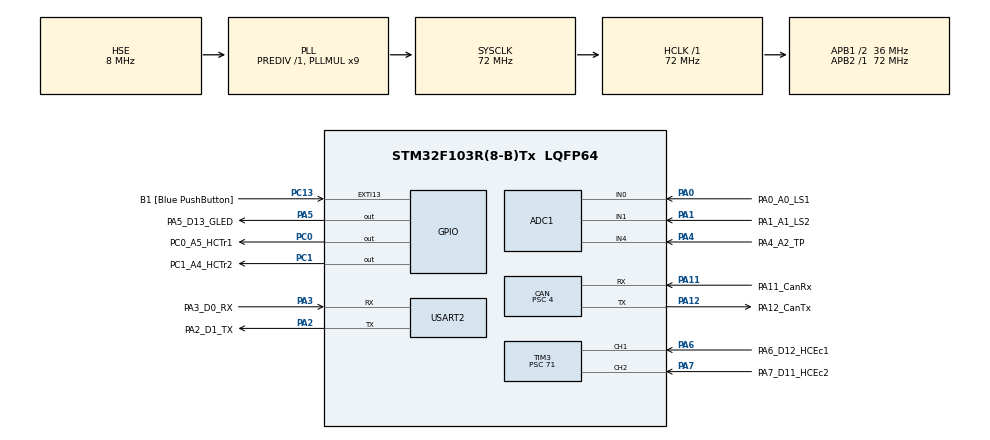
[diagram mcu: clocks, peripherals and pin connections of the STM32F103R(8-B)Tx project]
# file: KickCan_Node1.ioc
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ADC1.Channel-0\#ChannelRegularConversion=ADC_CHANNEL_0
ADC1.Channel-1\#ChannelRegularConversion=ADC_CHANNEL_1
ADC1.Channel-2\#ChannelRegularConversion=ADC_CHANNEL_4
ADC1.ContinuousConvMode=ENABLE
ADC1.NbrOfConversion=3
ADC1.NbrOfConversionFlag=1
ADC1.Rank-0\#ChannelRegularConversion=1
ADC1.Rank-1\#ChannelRegularConversion=2
ADC1.Rank-2\#ChannelRegularConversion=3
ADC1.SamplingTime-0\#ChannelRegularConversion=ADC_SAMPLETIME_55CYCLES_5
ADC1.SamplingTime-1\#ChannelRegularConversion=ADC_SAMPLETIME_55CYCLES_5
ADC1.SamplingTime-2\#ChannelRegularConversion=ADC_SAMPLETIME_239CYCLES_5
ADC1.master=1
CAN.BS1=CAN_BS1_13TQ
CAN.BS2=CAN_BS2_4TQ
CAN.CalculateBaudRate=500000
CAN.CalculateTimeBit=2000
CAN.CalculateTimeQuantum=111.11111111111111
CAN.NART=ENABLE
CAN.Prescaler=4
Dma.ADC1.0.Direction=DMA_PERIPH_TO_MEMORY
Dma.ADC1.0.Instance=DMA1_Channel1
Dma.ADC1.0.MemDataAlignment=DMA_MDATAALIGN_HALFWORD
Dma.ADC1.0.MemInc=DMA_MINC_ENABLE
Dma.ADC1.0.Mode=DMA_CIRCULAR
Dma.ADC1.0.PeriphDataAlignment=DMA_PDATAALIGN_HALFWORD
Dma.ADC1.0.PeriphInc=DMA_PINC_DISABLE
Dma.ADC1.0.Priority=DMA_PRIORITY_LOW
Dma.Request0=ADC1
FREERTOS.Queues01=QueueCAN,16,uint32_t,0,Dynamic,NULL,NULL
FREERTOS.Tasks01=TaskTP,0,128,StartTaskTP,Default,NULL,Dynamic,NULL,NULL;TaskHC1,0,128,StartTaskHC1,Default,NULL,Dynamic,NULL,NULL;TaskHC2,0,128,StartTaskHC2,Default,NULL,Dynamic,NULL,NULL;TaskLD,0,128,StartTaskLD,Default,NULL,Dynamic,NULL,NULL;TaskCAN,1,128,StartTaskCAN,Default,NULL,Dynamic,NULL,NULL
FREERTOS.configTOTAL_HEAP_SIZE=10240
Mcu.Family=STM32F1
Mcu.Name=STM32F103R(8-B)Tx
Mcu.Package=LQFP64
NVIC.DMA1_Channel1_IRQn=true\:5\:0\:false\:false\:true\:true\:false\:true\:true
NVIC.EXTI15_10_IRQn=true\:5\:0\:false\:false\:true\:true\:true\:true\:true
NVIC.PriorityGroup=NVIC_PRIORITYGROUP_4
NVIC.TIM3_IRQn=true\:5\:0\:false\:false\:true\:true\:true\:true\:true
NVIC.TIM4_IRQn=true\:0\:0\:true\:false\:true\:false\:false\:true\:true
NVIC.TimeBase=TIM4_IRQn
NVIC.TimeBaseIP=TIM4
NVIC.USB_LP_CAN1_RX0_IRQn=true\:5\:0\:false\:false\:true\:true\:true\:true\:true
PA0-WKUP.GPIO_Label=PA0_A0_LS1
PA0-WKUP.Signal=ADCx_IN0
PA1.GPIO_Label=PA1_A1_LS2
PA1.Signal=ADCx_IN1
PA11.GPIO_Label=PA11_CanRx
PA11.Mode=CAN_Activate
PA11.Signal=CAN_RX
PA12.GPIO_Label=PA12_CanTx
PA12.Mode=CAN_Activate
PA12.Signal=CAN_TX
PA13.GPIO_Label=TMS
PA13.Mode=Serial_Wire
PA13.Signal=SYS_JTMS-SWDIO
PA14.GPIO_Label=TCK
PA14.Mode=Serial_Wire
PA14.Signal=SYS_JTCK-SWCLK
PA2.GPIO_Label=PA2_D1_TX
PA2.GPIO_Mode=GPIO_MODE_AF_PP
PA2.GPIO_PuPd=GPIO_NOPULL
PA2.GPIO_Speed=GPIO_SPEED_FREQ_LOW
PA2.Mode=Asynchronous
PA2.Signal=USART2_TX
PA3.GPIO_Label=PA3_D0_RX
PA3.GPIO_Mode=GPIO_MODE_AF_PP
PA3.GPIO_PuPd=GPIO_NOPULL
PA3.GPIO_Speed=GPIO_SPEED_FREQ_LOW
PA3.Mode=Asynchronous
PA3.Signal=USART2_RX
PA4.GPIO_Label=PA4_A2_TP
PA4.Signal=ADCx_IN4
PA5.GPIO_Label=PA5_D13_GLED
PA5.GPIO_ModeDefaultOutputPP=GPIO_MODE_OUTPUT_PP
PA5.GPIO_PuPd=GPIO_NOPULL
PA5.GPIO_Speed=GPIO_SPEED_FREQ_LOW
PA5.Signal=GPIO_Output
PA6.GPIO_Label=PA6_D12_HCEc1
PA6.Signal=S_TIM3_CH1
PA7.GPIO_Label=PA7_D11_HCEc2
PA7.Signal=S_TIM3_CH2
PB3.GPIO_Label=SWO
PB3.Signal=SYS_JTDO-TRACESWO
PC0.GPIO_Label=PC0_A5_HCTr1
PC0.Signal=GPIO_Output
PC1.GPIO_Label=PC1_A4_HCTr2
PC1.Signal=GPIO_Output
PC13-TAMPER-RTC.GPIO_Label=B1 [Blue PushButton]
PC13-TAMPER-RTC.GPIO_PuPd=GPIO_NOPULL
PC13-TAMPER-RTC.Signal=GPXTI13
PC14-OSC32_IN.Mode=LSE-External-Oscillator
PC14-OSC32_IN.Signal=RCC_OSC32_IN
PC15-OSC32_OUT.Mode=LSE-External-Oscillator
PC15-OSC32_OUT.Signal=RCC_OSC32_OUT
PD0-OSC_IN.Mode=HSE-External-Oscillator
PD0-OSC_IN.Signal=RCC_OSC_IN
PD1-OSC_OUT.Mode=HSE-External-Oscillator
PD1-OSC_OUT.Signal=RCC_OSC_OUT
ProjectManager.HeapSize=0x200
ProjectManager.StackSize=0x400
ProjectManager.TargetToolchain=CMake
RCC.ADCPresc=RCC_ADCPCLK2_DIV6
RCC.AHBFreq_Value=72000000
RCC.APB1CLKDivider=RCC_HCLK_DIV2
RCC.APB1Freq_Value=36000000
RCC.APB1TimFreq_Value=72000000
RCC.APB2Freq_Value=72000000
RCC.APB2TimFreq_Value=72000000
RCC.HCLKFreq_Value=72000000
RCC.PLLMUL=RCC_PLL_MUL9
RCC.PLLSourceVirtual=RCC_PLLSOURCE_HSE
RCC.RTCClockSelection=RCC_RTCCLKSOURCE_LSE
RCC.SYSCLKFreq_VALUE=72000000
RCC.SYSCLKSource=RCC_SYSCLKSOURCE_PLLCLK
RCC.USBFreq_Value=72000000
SH.ADCx_IN0.0=ADC1_IN0,IN0
SH.ADCx_IN1.0=ADC1_IN1,IN1
SH.ADCx_IN4.0=ADC1_IN4,IN4
SH.S_TIM3_CH1.0=TIM3_CH1,Input_Capture1_from_TI1
SH.S_TIM3_CH2.0=TIM3_CH2,Input_Capture2_from_TI2
TIM3.Channel-Input_Capture1_from_TI1=TIM_CHANNEL_1
TIM3.Channel-Input_Capture2_from_TI2=TIM_CHANNEL_2
TIM3.Prescaler=71
USART2.VirtualMode=VM_ASYNC
VP_FREERTOS_VS_CMSIS_V1.Mode=CMSIS_V1
VP_SYS_VS_tim4.Mode=TIM4
VP_TIM3_VS_ClockSourceINT.Mode=Internal
board=NUCLEO-F103RB

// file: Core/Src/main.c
/* USER CODE BEGIN Header */
/**
  ******************************************************************************
  * @file           : main.c
  * @brief          : Main program body
  ******************************************************************************
  * @attention
  *
  * Copyright (c) 2026 STMicroelectronics.
  * All rights reserved.
  *
  * This software is licensed under terms that can be found in the LICENSE file
  * in the root directory of this software component.
  * If no LICENSE file comes with this software, it is provided AS-IS.
  *
  ******************************************************************************
  */
/* USER CODE END Header */
#include "main.h"
#include "cmsis_os.h"
#include "adc.h"
#include "can.h"
#include "dma.h"
#include "tim.h"
#include "usart.h"
#include "gpio.h"

/* USER CODE BEGIN Includes */
#include <stdio.h>
/* USER CODE END Includes */

/* USER CODE BEGIN PD */

/*
 * Node_1의 CAN 수신 Identifier
 *
 * CAN Identifier는 수신 노드 ID로 사용한다.
 * 따라서 Main Node가 Node_1으로 보내는 메시지는
 * Standard ID 0x002를 사용한다.
 */
#define CAN_NODE1_ID              0x002U

/*
 * 차량 전진·후진·정지 상태 제어명령
 *
 * Main Node에서 수신하며,
 * Node_1에서는 초음파 Event 송신 방향을
 * 결정하는 조건값으로만 사용한다.
 */
#define CAN_CMD_DRIVE_STATE       60U

/* USER CODE END PD */

/* USER CODE BEGIN PV */

/*
 * 전방 초음파 측정 변수
 */
volatile uint32_t IC_Value1_Front = 0U;
volatile uint8_t Is_First_Captured1 = 0U;
volatile uint16_t Distance_Front = 0U;

/*
 * 이번 전방 측정의 Echo가 정상적으로 완료되었는지 표시한다.
 *
 * 0: 아직 완료되지 않음 또는 타임아웃
 * 1: Rising/Falling Edge 측정 완료
 */
volatile uint8_t Front_Echo_Completed = 0U;

/*
 * 후방 초음파 측정 변수
 */
volatile uint32_t IC_Value1_Back = 0U;
volatile uint8_t Is_First_Captured2 = 0U;
volatile uint16_t Distance_Back = 0U;

/*
 * 이번 후방 측정의 Echo가 정상적으로 완료되었는지 표시한다.
 *
 * 0: 아직 완료되지 않음 또는 타임아웃
 * 1: Rising/Falling Edge 측정 완료
 */
volatile uint8_t Rear_Echo_Completed = 0U;

// freertos.c에 선언된 3채널 ADC 버퍼 참조[cite: 4, 10]
extern volatile uint16_t adc_dma_buff[3];

/*
 * Main Node에서 수신한 현재 차량 주행 상태
 *
 * 초기값은 정지 상태로 설정한다.
 *
 * Main Node의 60번 명령을 아직 받지 않았거나
 * CAN 통신이 연결되지 않은 상태에서
 * 초음파 Event가 임의로 송신되는 것을 방지한다.
 *
 * 이 변수는:
 * - main.c의 CAN 수신 콜백에서 갱신
 * - freertos.c의 초음파 Task에서 참조
 *
 * 용도로 사용한다.
 */
volatile DriveState_t g_drive_state = DRIVE_STATE_STOP;

/* USER CODE END PV */

void SystemClock_Config(void);
void MX_FREERTOS_Init(void);
/* USER CODE BEGIN PFP */
void delay_us(uint16_t us);
/* USER CODE END PFP */

int main(void)
{

  /* MCU Configuration--------------------------------------------------------*/

  /* Reset of all peripherals, Initializes the Flash interface and the Systick. */
  HAL_Init();

  /* Configure the system clock */
  SystemClock_Config();

  /* Initialize all configured peripherals */
  MX_GPIO_Init();
  MX_DMA_Init();
  MX_USART2_UART_Init();
  MX_ADC1_Init();
  MX_CAN_Init();
  MX_TIM3_Init();
  /* USER CODE BEGIN 2 */

  // 1. CAN 필터 설정 및 수신(RX0) 인터럽트 활성화[cite: 5, 6]
  CAN_FilterTypeDef sFilterConfig = {0, };
  sFilterConfig.FilterBank = 0;
  sFilterConfig.FilterMode = CAN_FILTERMODE_IDMASK;
  sFilterConfig.FilterScale = CAN_FILTERSCALE_32BIT;
  // sFilterConfig.FilterIdHigh = 0x0002 << 5;
  sFilterConfig.FilterIdHigh = CAN_NODE1_ID << 5;
  sFilterConfig.FilterIdLow = 0x0000;
  sFilterConfig.FilterMaskIdHigh = 0x7ff << 5;
  sFilterConfig.FilterMaskIdLow = 0x0000;
  sFilterConfig.FilterFIFOAssignment = CAN_RX_FIFO0; // RX0 지정[cite: 5, 6]
  sFilterConfig.FilterActivation = ENABLE;
  sFilterConfig.SlaveStartFilterBank = 14;

  if (HAL_CAN_ConfigFilter(&hcan, &sFilterConfig) != HAL_OK)
  {
    Error_Handler();
  }
  // HAL_CAN_Start(&hcan); // CAN 동작 개시[cite: 5, 6]
  // HAL_CAN_ActivateNotification(&hcan, CAN_IT_RX_FIFO0_MSG_PENDING); // RX0 인터럽트 켜기[cite: 5, 6]

  if (HAL_CAN_Start(&hcan) != HAL_OK)
  {
    Error_Handler();
  }

  if (HAL_CAN_ActivateNotification(&hcan, CAN_IT_RX_FIFO0_MSG_PENDING) != HAL_OK)
  {
    Error_Handler();
  }

  // 2. TIM3 Input Capture 인터럽트 시작 (PA6: CH1-전방 / PA7: CH2-후방)[cite: 13]
  extern TIM_HandleTypeDef htim3;
  HAL_TIM_IC_Start_IT(&htim3, TIM_CHANNEL_1);
  HAL_TIM_IC_Start_IT(&htim3, TIM_CHANNEL_2);

  HAL_ADCEx_Calibration_Start(&hadc1);   // ADC 보정

  // 3. ADC1 3채널 DMA 수집 시작 (PA0, PA1, PA4)[cite: 4, 10]
  HAL_ADC_Start_DMA(&hadc1, (uint32_t*)adc_dma_buff, 3);

  /* USER CODE END 2 */

  /* Call init function for freertos objects (in cmsis_os2.c) */
  MX_FREERTOS_Init();

  /* Start scheduler */
  osKernelStart();

  /* We should never get here as control is now taken by the scheduler */

  /* Infinite loop */
  while (1)
  {

  }
}

void SystemClock_Config(void)
{
  RCC_OscInitTypeDef RCC_OscInitStruct = {0};
  RCC_ClkInitTypeDef RCC_ClkInitStruct = {0};
  RCC_PeriphCLKInitTypeDef PeriphClkInit = {0};

  /** Initializes the RCC Oscillators according to the specified parameters
  * in the RCC_OscInitTypeDef structure.
  */
  RCC_OscInitStruct.OscillatorType = RCC_OSCILLATORTYPE_HSE;
  RCC_OscInitStruct.HSEState = RCC_HSE_ON;
  RCC_OscInitStruct.HSEPredivValue = RCC_HSE_PREDIV_DIV1;
  RCC_OscInitStruct.HSIState = RCC_HSI_ON;
  RCC_OscInitStruct.PLL.PLLState = RCC_PLL_ON;
  RCC_OscInitStruct.PLL.PLLSource = RCC_PLLSOURCE_HSE;
  RCC_OscInitStruct.PLL.PLLMUL = RCC_PLL_MUL9;
  if (HAL_RCC_OscConfig(&RCC_OscInitStruct) != HAL_OK)
  {
    Error_Handler();
  }

  /** Initializes the CPU, AHB and APB buses clocks
  */
  RCC_ClkInitStruct.ClockType = RCC_CLOCKTYPE_HCLK|RCC_CLOCKTYPE_SYSCLK|RCC_CLOCKTYPE_PCLK1|RCC_CLOCKTYPE_PCLK2;
  RCC_ClkInitStruct.SYSCLKSource = RCC_SYSCLKSOURCE_PLLCLK;
  RCC_ClkInitStruct.AHBCLKDivider = RCC_SYSCLK_DIV1;
  RCC_ClkInitStruct.APB1CLKDivider = RCC_HCLK_DIV2;
  RCC_ClkInitStruct.APB2CLKDivider = RCC_HCLK_DIV1;

  if (HAL_RCC_ClockConfig(&RCC_ClkInitStruct, FLASH_LATENCY_2) != HAL_OK)
  {
    Error_Handler();
  }
  PeriphClkInit.PeriphClockSelection = RCC_PERIPHCLK_ADC;
  PeriphClkInit.AdcClockSelection = RCC_ADCPCLK2_DIV6;
  if (HAL_RCCEx_PeriphCLKConfig(&PeriphClkInit) != HAL_OK)
  {
    Error_Handler();
  }
}

/* USER CODE BEGIN 4 */

/*
 * CAN 수신 콜백 함수
 *
 * Main Node에서 Node_1으로 전송한
 * 주행 상태 제어명령 60번을 수신한다.
 *
 * 이 콜백에서는:
 * - 수신 메시지 확인
 * - 주행 상태 저장
 *
 * 까지만 수행한다.
 *
 * 초음파 판단, CAN 송신 큐 등록 및 UART 출력은
 * 이 인터럽트 콜백에서 수행하지 않는다.
 */
void HAL_CAN_RxFifo0MsgPendingCallback(CAN_HandleTypeDef *hcan_ptr)
{

    CAN_RxHeaderTypeDef rxHeader = {0, };

    uint8_t rxData[8] =
    {
      0U, 0U, 0U, 0U, 0U, 0U, 0U, 0U
    };

    /*
    * CAN1 수신 인터럽트인지 확인
    */
    if (hcan_ptr->Instance != CAN1)
    {
      return;
    }

    /*
    * FIFO0 메시지는 한 번만 읽는다.
    */
    if (HAL_CAN_GetRxMessage(hcan_ptr, CAN_RX_FIFO0, &rxHeader, rxData) != HAL_OK)
    {
      return;
    }

    /*
    * Standard Data Frame만 처리한다.
    */
    if ((rxHeader.IDE != CAN_ID_STD) || (rxHeader.RTR != CAN_RTR_DATA))
    {
      return;
    }

    /*
    * Node_1 대상 ID인지 확인한다.
    */
    if (rxHeader.StdId != CAN_NODE1_ID)
    {
      return;
    }

    /*
    * Command와 Value가 존재하는지 확인한다.
    */
    if (rxHeader.DLC < 2U)
    {
      return;
    }

    /*
    * 주행 상태 Command 60만 처리한다.
    */
    if (rxData[0] != CAN_CMD_DRIVE_STATE)
    {
      return;
    }

    /*
    * Data[1]:
    * 0 = 전진
    * 1 = 후진
    * 2 = 정지
    */
    switch (rxData[1])
    {
      case DRIVE_STATE_FORWARD:
        g_drive_state = DRIVE_STATE_FORWARD;
        break;

      case DRIVE_STATE_BACKWARD:
        g_drive_state = DRIVE_STATE_BACKWARD;
        break;

      case DRIVE_STATE_STOP:
        g_drive_state = DRIVE_STATE_STOP;
        break;

      default:
        /*
        * 정의되지 않은 값이면
        * 기존 주행 상태를 유지한다.
        */
        break;
    }

}

// ---------------- [Input Capture 인터럽트 콜백] ----------------[cite: 13]
void HAL_TIM_IC_CaptureCallback(TIM_HandleTypeDef *htim)
{
  if (htim->Instance == TIM3)
  {
    // --- [전방 센서: TIM3_CH1 (PA6)] ---[cite: 13]
    if (htim->Channel == HAL_TIM_ACTIVE_CHANNEL_1)
    {
      if (Is_First_Captured1 == 0) // Rising Edge (Echo 시작)[cite: 13]
      {
        __HAL_TIM_SET_COUNTER(htim, 0); // 카운터 0 초기화[cite: 13]
        Is_First_Captured1 = 1;
        __HAL_TIM_SET_CAPTUREPOLARITY(htim, TIM_CHANNEL_1, TIM_INPUTCHANNELPOLARITY_FALLING);
      }
      else if (Is_First_Captured1 == 1) // Falling Edge (Echo 끝)[cite: 13]
      {
        IC_Value1_Front = HAL_TIM_ReadCapturedValue(htim, TIM_CHANNEL_1);
        Distance_Front = IC_Value1_Front / 58;

        /*
        * Rising/Falling Edge 측정이 모두 끝났으므로
        * 이번 전방 측정 완료 표시
        */
        Front_Echo_Completed = 1U;

        Is_First_Captured1 = 0;
        __HAL_TIM_SET_CAPTUREPOLARITY(htim, TIM_CHANNEL_1, TIM_INPUTCHANNELPOLARITY_RISING);
      }
    }

    // --- [후방 센서: TIM3_CH2 (PA7)] ---[cite: 13]
    if (htim->Channel == HAL_TIM_ACTIVE_CHANNEL_2)
    {
      if (Is_First_Captured2 == 0) // Rising Edge[cite: 13]
      {
        __HAL_TIM_SET_COUNTER(htim, 0); // 카운터 0 초기화[cite: 13]
        Is_First_Captured2 = 1;
        __HAL_TIM_SET_CAPTUREPOLARITY(htim, TIM_CHANNEL_2, TIM_INPUTCHANNELPOLARITY_FALLING);
      }
      else if (Is_First_Captured2 == 1) // Falling Edge[cite: 13]
      {
        IC_Value1_Back = HAL_TIM_ReadCapturedValue(htim, TIM_CHANNEL_2);
        Distance_Back = IC_Value1_Back / 58;

        /*
        * Rising/Falling Edge 측정이 모두 끝났으므로
        * 이번 후방 측정 완료 표시
        */
        Rear_Echo_Completed = 1U;

        Is_First_Captured2 = 0;
        __HAL_TIM_SET_CAPTUREPOLARITY(htim, TIM_CHANNEL_2, TIM_INPUTCHANNELPOLARITY_RISING);
      }
    }
  }
}

// Microsecond Delay 함수 (72MHz 소프트웨어 딜레이)
void delay_us(uint16_t us)
{
  uint32_t count = us * 8;
  while(count--) {
    __NOP();
  }
}

// printf UART2 재정의[cite: 13]
int __io_putchar(int ch)
{
  HAL_UART_Transmit(&huart2, (uint8_t *)&ch, 1, HAL_MAX_DELAY);
  return ch;
}

/* USER CODE END 4 */

void HAL_TIM_PeriodElapsedCallback(TIM_HandleTypeDef *htim)
{
  if (htim->Instance == TIM4)
  {
    HAL_IncTick();
  }
}

void Error_Handler(void)
{
  __disable_irq();
  while (1)
  {
  }
}

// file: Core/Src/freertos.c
/* USER CODE BEGIN Header */
/**
  ******************************************************************************
  * File Name          : freertos.c
  * Description        : Code for freertos applications (STM32F103 CMSIS_V1 호환)
  ******************************************************************************
  * @attention
  *
  * Copyright (c) 2026 STMicroelectronics.
  * All rights reserved.
  *
  * This software is licensed under terms that can be found in the LICENSE file
  * in the root directory of this software component.
  * If no LICENSE file comes with this software, it is provided AS-IS.
  *
  ******************************************************************************
  */
/* USER CODE END Header */

#include "FreeRTOS.h"
#include "task.h"
#include "main.h"
#include "cmsis_os.h"

/* USER CODE BEGIN Includes */
#include "adc.h"   // hadc1 핸들 사용
#include "can.h"   // hcan 핸들 사용
#include "usart.h" // huart2 핸들 사용
#include <stdio.h> // printf 출력을 위한 헤더
#include "queue.h"   // FreeRTOS 구조체 큐 사용
/* USER CODE END Includes */

/* USER CODE BEGIN PTD */

/*
 * Node_1에서 발생할 수 있는 CAN 제어 명령
 *
 * 각 센서 Task는 센서값을 판단한 뒤
 * 해당하는 명령 번호를 생성한다.
 *
 * 실제 CAN 전송은 이후 TaskCAN에서 처리할 예정이다.
 */
typedef enum
{
    CAN_CMD_NONE = 0,

    /*
     * ICD(9) 기준:
     * 같은 기능의 세부 상태는 Command가 아니라
     * Data[1]의 Value로 구분한다.
     */
    CAN_CMD_TEMP             = 110,
    CAN_CMD_LIGHT            = 112,
    CAN_CMD_FRONT_ULTRASONIC = 113,
    CAN_CMD_REAR_ULTRASONIC  = 115

} Node1CanCommand_t;

/*
 * CAN 송신 큐에 저장할 메시지
 *
 * 각 센서 Task는 센서 상태를 판단한 뒤
 * 실제 CAN 송신에 필요한 정보만 이 구조체에 담아
 * QueueCAN으로 전달한다.
 *
 * 실제 CAN Header 구성, Payload 패킹 및 송신은
 * TaskCAN에서만 수행한다.
 */
typedef struct
{
    /*
     * CAN Header의 Standard Identifier로 사용할 수신 노드 ID
     *
     * 현재 Node_1에서 발생한 Event는
     * Node_2로 전송하므로 기본 목적지는 0x003이다.
     */
    uint16_t destination_id;

    /*
     * CAN Payload의 Data[0]에 저장할 제어 명령
     *
     * 예:
     * 110 = 온도 상태
     * 112 = 조도 상태
     * 113 = 전방 초음파 상태
     * 115 = 후방 초음파 상태
     */
    uint8_t command;

    /*
     * CAN Payload의 Data[1]에 저장할 실제 상태값
     */
    uint8_t value;

} CanTxMessage_t;

/*
 * 현재 조도 수준
 */
typedef enum
{
    LIGHT_LEVEL_DARK = 0,       // ADC 900 이하
    LIGHT_LEVEL_TRANSITION,     // ADC 901 ~ 1699
    LIGHT_LEVEL_BRIGHT          // ADC 1700 이상

} LightLevel_t;

/*
 * 현재 라이트 동작 상태
 */
typedef enum
{
    LIGHT_STATE_OFF = 0,        // 라이트 해제 상태
    LIGHT_STATE_FAST_ON,        // 터널 진입용 빠른 점등
    LIGHT_STATE_SMOOTH_ON       // 일몰/야간용 자연스러운 점등

} LightState_t;

/*
 * 초음파 거리 경고 상태
 */
typedef enum
{
    ULTRASONIC_STATE_CLEAR = 0,   // 장애물 없음: 30cm 초과
    ULTRASONIC_STATE_30CM,        // 21 ~ 30cm
    ULTRASONIC_STATE_20CM,        // 11 ~ 20cm
    ULTRASONIC_STATE_10CM         // 1 ~ 10cm

} UltrasonicState_t;

// 단일 센서 데이터 관리 구조체
typedef struct
{
    uint16_t raw;       // DMA로 넘어온 순수 ADC 값 (0 ~ 4095)
    uint16_t filtered;  // LPF 적용된 안정적인 ADC 값
    int16_t  delta;     // 이전 필터값 - 현재 필터값

} LightSensor_t;

/*
 * TMP36 온도센서 데이터 관리 구조체
 */
typedef struct
{
    uint16_t raw;             // ADC 원본값
    uint16_t filtered_raw;    // 필터 적용 ADC값
    float voltage;            // 변환 전압
    float temperature;        // 계산된 온도(℃)

} TemperatureSensor_t;

// 전체 오토라이트 & TP 시스템 구조체
typedef struct
{
    LightSensor_t forward;  // LS1 (PA0)
    LightSensor_t overhead; // LS2 (PA1)
    TemperatureSensor_t tp;      // TMP36 (PA4)

} AutoLight_t;

/* USER CODE END PTD */

/* USER CODE BEGIN PD */

/*
 * TMP36 온도 상태 전환 기준
 *
 * 경고 기준:
 * TEMP_WARNING_THRESHOLD 이상
 *
 * 정상 복귀 기준:
 * TEMP_NORMAL_THRESHOLD 이하
 *
 * CAN 전송:
 * Command 110, Value 1 = 경고
 * Command 110, Value 0 = 정상
 */
#define TEMP_WARNING_THRESHOLD     30.0f
#define TEMP_NORMAL_THRESHOLD      25.0f

/*
 * 조도센서 ADC 기준값
 *
 * 실제 측정 결과:
 * 밝은 환경: 약 2000 이상
 * 어두운 환경: 약 1000 이하
 */
#define LIGHT_BRIGHT_THRESHOLD           2500U
#define LIGHT_DARK_THRESHOLD             1800U

/*
 * 조도 변화량 기준
 *
 * raw delta:
 * 이전 raw 값 - 현재 raw 값
 *
 * 양수: ADC값 감소, 즉 어두워짐
 * 음수: ADC값 증가, 즉 밝아짐
 */
#define LIGHT_RAW_RAPID_DROP             400

/*
 * 필터값 변화량 기준
 *
 * 현재 LPF가 0.2 : 0.8이므로
 * 실제 raw 변화보다 filtered 변화가 작게 나타난다.
 */
#define LIGHT_FILTERED_DROP               250
#define LIGHT_FILTERED_RISE               250

/*
 * 일시적 그림자 확인 횟수
 *
 * TaskLD 주기 100ms 기준:
 * 3회 = 약 300ms
 */
#define SHADOW_CONFIRM_COUNT                3U

/*
 * 밝음 복귀 확인 횟수
 *
 * 라이트가 순간적인 빛에 바로 꺼지지 않도록
 * 5회 연속 밝음 확인 후 해제한다.
 *
 * TaskLD 주기 100ms 기준:
 * 5회 = 약 500ms
 */
#define LIGHT_OFF_CONFIRM_COUNT              5U

/*
 * 초음파 거리 경고 기준값
 */
#define ULTRASONIC_WARNING_10CM       10U
#define ULTRASONIC_WARNING_20CM       20U
#define ULTRASONIC_WARNING_30CM       30U

/*
 * HC-SR04 측정값 유효 범위
 *
 * Distance 값이 0이면 아직 Echo가 측정되지 않았거나
 * 측정에 실패한 것으로 판단한다.
 */
#define ULTRASONIC_MIN_VALID_CM         1U
#define ULTRASONIC_MAX_VALID_CM       400U

/*
 * Node_2의 CAN 수신 Identifier
 *
 * CAN Identifier는 수신 노드 ID로 사용한다.
 * Node_1에서 발생한 센서 Event는
 * Node_2(ID 3)로 전송한다.
 */
#define CAN_NODE2_ID                       0x003U

/* USER CODE END PD */

/* USER CODE BEGIN Variables */

/*
 * main.c에 선언된 거리 변수 및 us delay 함수 참조
 */
extern volatile uint16_t Distance_Front;
extern volatile uint16_t Distance_Back;

/*
 * main.c의 초음파 측정 완료 플래그
 */
extern volatile uint8_t Front_Echo_Completed;
extern volatile uint8_t Rear_Echo_Completed;

extern void delay_us(uint16_t us);

/*
 * Main Node에서 수신한 현재 차량 주행 상태
 *
 * main.c의 CAN 수신 콜백에서 값이 변경되며,
 * TaskHC1과 TaskHC2에서는 이 값을 읽기만 한다.
 *
 * Node_1이 이 주행 상태를 다시 송신하는 것은 아니다.
 */
extern volatile DriveState_t g_drive_state;

// PA0(LS1), PA1(LS2), PA4(TP) 센서 값이 저장될 DMA 버퍼
volatile uint16_t adc_dma_buff[3] = {0, };

// 전체 센서값 관리 구조체
AutoLight_t g_auto_light;

/*
 * 현재 온도 경고 상태
 */
typedef enum
{
    TEMP_STATE_NORMAL = 0,    // 정상 상태
    TEMP_STATE_WARNING        // 고온 경고 상태

} TemperatureState_t;

/*
 * TaskTP에서 판단한 현재 온도 상태
 */
volatile TemperatureState_t g_temperature_state = TEMP_STATE_NORMAL;

/*
 * TaskLD에서 판단한 현재 라이트 상태
 */
volatile LightState_t g_light_state = LIGHT_STATE_OFF;

/*
 * 전방·후방 초음파 현재 상태
 */
volatile UltrasonicState_t g_front_ultrasonic_state = ULTRASONIC_STATE_CLEAR;

volatile UltrasonicState_t g_rear_ultrasonic_state = ULTRASONIC_STATE_CLEAR;

/* USER CODE END Variables */
osThreadId TaskTPHandle;
osThreadId TaskHC1Handle;
osThreadId TaskHC2Handle;
osThreadId TaskLDHandle;
osThreadId TaskCANHandle;

/*
 * CAN 송신 메시지를 저장할 FreeRTOS 큐 핸들
 *
 * 큐 하나의 항목에는
 * CanTxMessage_t 구조체 전체가 저장된다.
 */
QueueHandle_t QueueCANHandle;

/* USER CODE BEGIN FunctionPrototypes */

static LightLevel_t GetLightLevel(uint16_t adc_value);

static UltrasonicState_t GetUltrasonicState(uint16_t distance_cm);

/* USER CODE END FunctionPrototypes */

void StartTaskTP(void const * argument);
void StartTaskHC1(void const * argument);
void StartTaskHC2(void const * argument);
void StartTaskLD(void const * argument);
void StartTaskCAN(void const * argument);

void MX_FREERTOS_Init(void); /* (MISRA C 2004 rule 8.1) */

/* GetIdleTaskMemory prototype (linked to static allocation support) */
void vApplicationGetIdleTaskMemory( StaticTask_t **ppxIdleTaskTCBBuffer, StackType_t **ppxIdleTaskStackBuffer, uint32_t *pulIdleTaskStackSize );

/* USER CODE BEGIN GET_IDLE_TASK_MEMORY */
static StaticTask_t xIdleTaskTCBBuffer;
static StackType_t xIdleStack[configMINIMAL_STACK_SIZE];

void vApplicationGetIdleTaskMemory( StaticTask_t **ppxIdleTaskTCBBuffer, StackType_t **ppxIdleTaskStackBuffer, uint32_t *pulIdleTaskStackSize )
{
  *ppxIdleTaskTCBBuffer = &xIdleTaskTCBBuffer;
  *ppxIdleTaskStackBuffer = &xIdleStack[0];
  *pulIdleTaskStackSize = configMINIMAL_STACK_SIZE;
  /* place for user code */
}
/* USER CODE END GET_IDLE_TASK_MEMORY */

void MX_FREERTOS_Init(void) {

  /* Create the queue(s) */
  /* definition and creation of QueueCAN */

  /* USER CODE BEGIN RTOS_QUEUES */

  /* Create the queue(s) */

  /*
  * CAN 송신 큐 생성
  *
  * 큐 길이:
  * 최대 16개의 CAN 송신 요청을 대기시킬 수 있다.
  *
  * 큐 항목 크기:
  * CanTxMessage_t 구조체 하나의 크기
  *
  * 센서 Task는 이 큐에
  * 수신 노드 ID, Command, Value를 저장한다.
  *
  * TaskCAN은 큐에서 메시지를 하나씩 꺼내
  * 실제 CAN Header와 Payload를 구성한다.
  */
  QueueCANHandle =
      xQueueCreate(16, sizeof(CanTxMessage_t));

  /*
  * 큐 생성 실패 확인
  *
  * 메모리 부족 등의 이유로 큐가 생성되지 않으면
  * 더 이상 정상적인 CAN 송신이 불가능하므로
  * Error_Handler로 진입한다.
  */
  if (QueueCANHandle == NULL)
  {
      Error_Handler();
  }

  /* USER CODE END RTOS_QUEUES */

  /* Create the thread(s) */
  /* definition and creation of TaskTP */
  osThreadDef(TaskTP, StartTaskTP, osPriorityNormal, 0, 128);
  TaskTPHandle = osThreadCreate(osThread(TaskTP), NULL);

  /* definition and creation of TaskHC1 */
  osThreadDef(TaskHC1, StartTaskHC1, osPriorityNormal, 0, 128);
  TaskHC1Handle = osThreadCreate(osThread(TaskHC1), NULL);

  /* definition and creation of TaskHC2 */
  osThreadDef(TaskHC2, StartTaskHC2, osPriorityNormal, 0, 128);
  TaskHC2Handle = osThreadCreate(osThread(TaskHC2), NULL);

  /* definition and creation of TaskLD */
  osThreadDef(TaskLD, StartTaskLD, osPriorityNormal, 0, 128);
  TaskLDHandle = osThreadCreate(osThread(TaskLD), NULL);

  /* definition and creation of TaskCAN */
  osThreadDef(TaskCAN, StartTaskCAN, osPriorityAboveNormal, 0, 128);
  TaskCANHandle = osThreadCreate(osThread(TaskCAN), NULL);

}

void StartTaskTP(void const * argument)
{
  /* USER CODE BEGIN StartTaskTP */

  /*
   * 현재 온도 상태와 이전 온도 상태
   *
   * 상태가 실제로 바뀌었을 때만
   * 새로운 CAN 명령을 생성하기 위해 사용한다.
   */
  TemperatureState_t current_temperature_state = TEMP_STATE_NORMAL;

  TemperatureState_t previous_temperature_state = TEMP_STATE_NORMAL;

  /*
   * 최초 ADC 측정 여부
   *
   * filtered_raw가 0인 상태에서 바로 필터를 적용하면
   * 실제 ADC값보다 낮은 값에서 천천히 상승하므로,
   * 최초 측정값을 필터 초기값으로 사용한다.
   */
  uint8_t first_sample = 1;

  for (;;)
  {
    /*
     * 1. DMA 버퍼에서 TMP36 ADC값 읽기
     *
     * adc_dma_buff[2]:
     * ADC1_IN4, PA4에 연결된 TMP36
     */
    uint16_t raw_tp = adc_dma_buff[2];

    /*
     * 2. 최초 측정값 초기화
     */
    if (first_sample == 1)
    {
      g_auto_light.tp.raw = raw_tp;
      g_auto_light.tp.filtered_raw = raw_tp;

      first_sample = 0;
    }
    else
    {
      /*
       * 3. 현재 ADC 원본값 저장
       */
      g_auto_light.tp.raw = raw_tp;

      /*
       * 4. Low-Pass Filter 적용
       *
       * 현재 ADC값 20%
       * 이전 필터값 80%
       */
      g_auto_light.tp.filtered_raw = (uint16_t)((0.2f * (float)raw_tp) + (0.8f * (float)g_auto_light.tp.filtered_raw));
    }

    /*
     * 5. ADC값을 전압으로 변환
     *
     * STM32 ADC:
     * 12bit → 0~4095
     * 기준전압 → 3.3V
     */
    g_auto_light.tp.voltage = ((float)g_auto_light.tp.filtered_raw * 3.3f) / 4095.0f;

    /*
     * 6. TMP36 출력전압을 온도로 변환
     *
     * TMP36:
     * 0℃에서 약 0.5V
     * 1℃당 약 10mV 증가
     *
     * Temperature = (Voltage - 0.5) × 100
     */
    g_auto_light.tp.temperature = (g_auto_light.tp.voltage - 0.5f) * 100.0f;

    /*
     * 7. 온도 상태 판단
     *
     * 정상 상태에서 설정 기준 이상이 되면 경고 상태로 전환한다.
     *
     * TEMP_WARNING_THRESHOLD 이상이면
     * 온도 경고 상태로 전환한다.
     *
     * 현재 설정값:
     * 35℃ 이상 → 경고
     */
    if ((current_temperature_state == TEMP_STATE_NORMAL) && (g_auto_light.tp.temperature >= TEMP_WARNING_THRESHOLD))
    {
      current_temperature_state = TEMP_STATE_WARNING;
    }

    /*
     * 경고 상태에서는 온도가 30℃ 이하로 내려가야
     * 정상 상태로 복귀한다.
     *
     * 경고 진입 온도와 해제 온도를 다르게 두어
     * 경계 온도에서 명령이 반복되는 것을 방지한다.
     */
    else if ((current_temperature_state == TEMP_STATE_WARNING) && (g_auto_light.tp.temperature <= TEMP_NORMAL_THRESHOLD))
    {
      current_temperature_state = TEMP_STATE_NORMAL;
    }

    /*
    * 8. 온도 상태가 바뀌었을 때만
    *    온도 Event를 QueueCAN에 등록한다.
    *
    * TaskTP에서는 실제 CAN 송신을 하지 않는다.
    *
    * 이 Task에서는:
    * - 수신 노드 ID
    * - Command
    * - Value
    *
    * 만 설정한다.
    *
    * CAN Header 구성, Payload 패킹 및 실제 송신은
    * TaskCAN에서만 수행한다.
    */
    if (current_temperature_state != previous_temperature_state)
    {
      /*
      * TaskCAN으로 전달할 온도 Event 메시지
      */
      CanTxMessage_t temperature_message;

      /*
      * Node_1의 온도 Event는
      * Node_2(ID 3)로 전송한다.
      *
      * TaskCAN에서는 이 값을
      * CAN Header의 Standard Identifier로 사용한다.
      */
      temperature_message.destination_id = CAN_NODE2_ID;

      /*
      * 현재 온도 상태에 따라
      * Command와 Value를 설정한다.
      */
      switch (current_temperature_state)
      {
        case TEMP_STATE_WARNING:

          /*
          * 온도 경고 Event
          *
          * Command = 110
          * Value   = 1
          *
          * 최종 Payload:
          * [6E 01 00 00 00 00 00 00]
          */
          temperature_message.command = (uint8_t)CAN_CMD_TEMP;

          temperature_message.value = 1U;
          break;

        case TEMP_STATE_NORMAL:
        default:

          /*
          * 온도 정상 복귀 Event
          *
          * Command = 110
          * Value   = 0
          *
          * 최종 Payload:
          * [6E 00 00 00 00 00 00 00]
          */
          temperature_message.command = (uint8_t)CAN_CMD_TEMP;

          temperature_message.value = 0U;
          break;
      }

      /*
      * 온도 Event를 CAN 송신 큐에 등록한다.
      *
      * 여기에서는 CAN 송신을 직접 수행하지 않는다.
      * TaskCAN이 큐에서 이 메시지를 꺼내 송신한다.
      *
      * 큐가 가득 찬 경우에는
      * 공간이 생길 때까지 대기한다.
      */
      xQueueSend(QueueCANHandle, &temperature_message, portMAX_DELAY);

      /*
      * 외부 확인용 현재 온도 상태 저장
      *
      * 이 변수는 UART 확인용으로 유지한다.
      */
      g_temperature_state = current_temperature_state;

      /*
      * 다음 상태 비교를 위해 현재 상태 저장
      *
      * 상태가 실제로 바뀌었을 때만
      * 다음 온도 Event가 발생하도록 한다.
      */
      previous_temperature_state = current_temperature_state;
    }

    /*
     * 온도 측정 주기: 100ms
     */
    osDelay(100);
  }

  /* USER CODE END StartTaskTP */
}

void StartTaskHC1(void const * argument)
{
  /* USER CODE BEGIN StartTaskHC1 */

  /*
   * 현재 측정된 전방 초음파 상태
   */
  UltrasonicState_t current_front_state = ULTRASONIC_STATE_CLEAR;

  /*
   * 이전 측정 주기의 전방 초음파 상태
   *
   * 전진 상태를 유지하는 동안
   * 거리 단계가 실제로 변경되었는지 확인하기 위해 사용한다.
   */
  UltrasonicState_t previous_front_state = ULTRASONIC_STATE_CLEAR;

  /*
   * TaskHC1이 마지막으로 확인한 주행 상태
   *
   * Main Node에서 받은 주행 상태가
   * 정지 또는 후진에서 전진으로 변경되었는지
   * 확인하기 위해 사용한다.
   *
   * 시스템 초기 상태는 정지로 설정한다.
   */
  DriveState_t previous_drive_state = DRIVE_STATE_STOP;

  /*
   * 최초 유효 거리 측정 여부
   *
   * 시스템 시작 직후 Distance_Front가 0인 상태를
   * 실제 거리 상태로 사용하지 않기 위해 사용한다.
   */
  uint8_t first_valid_sample = 1U;

  for (;;)
  {
    /*
    * 1. 이번 전방 측정 준비
    *
    * 이전 측정 완료 상태를 지우고
    * 새 Trig에 대한 Echo 완료를 기다린다.
    */
    Front_Echo_Completed = 0U;

    /*
    * 전방 초음파 Trig 발생
    */
    HAL_GPIO_WritePin(GPIOC, PC0_A5_HCTr1_Pin, GPIO_PIN_RESET);

    delay_us(2U);

    HAL_GPIO_WritePin(GPIOC, PC0_A5_HCTr1_Pin, GPIO_PIN_SET);

    delay_us(10U);

    HAL_GPIO_WritePin(GPIOC, PC0_A5_HCTr1_Pin, GPIO_PIN_RESET);

    /*
    * 2. 이번 전방 Echo 완료 대기
    *
    * 최대 30ms 동안 기다린다.
    * 약 4m 정도의 Echo 왕복 시간까지 포함하는 범위다.
    */
    uint32_t front_wait_start = HAL_GetTick();

    while ((Front_Echo_Completed == 0U) && ((HAL_GetTick() - front_wait_start) < 30U))
    {
      osDelay(1U);
    }

    /*
    * 이번 측정 결과
    *
    * Echo 완료:
    * 인터럽트에서 계산된 거리 사용
    *
    * Echo 없음:
    * 장애물이 측정 범위 밖에 있다고 보고
    * CLEAR 판단용 값 0 사용
    */
    uint16_t front_distance;

    if (Front_Echo_Completed == 1U)
    {
      front_distance = Distance_Front;
    }
    else
    {
      front_distance = 0U;
    }

    /*
     * 3. Main Node에서 수신한 현재 주행 상태를 읽는다.
     *
     * 이 값은 Node_1이 다시 송신하지 않는다.
     * 전방 초음파 Event의 송신 여부를
     * 결정하는 조건값으로만 사용한다.
     */
    DriveState_t current_drive_state = g_drive_state;

    /*
    * Echo가 없거나 측정 범위를 벗어난 경우
    * 장애물이 멀리 있다고 보고 CLEAR 처리
    */
    if ((front_distance < ULTRASONIC_MIN_VALID_CM) || (front_distance > ULTRASONIC_MAX_VALID_CM))
    {
      current_front_state = ULTRASONIC_STATE_CLEAR;
    }
    else
    {
    /*
     * 5. 현재 거리값을 전방 경고 단계로 변환한다.
     *
     * CLEAR : 30cm 초과
     * 30CM  : 21~30cm
     * 20CM  : 11~20cm
     * 10CM  : 1~10cm
     */
    current_front_state = GetUltrasonicState(front_distance);
    }

    /*
     * 이번 측정에서 전방 거리 단계가
     * 실제로 변경되었는지 저장한다.
     */
    uint8_t front_state_changed = 0U;

    /*
     * 6. 최초 유효 거리값 처리
     *
     * 최초 유효 측정값을 현재 상태와
     * 이전 비교 상태로 함께 저장한다.
     */
    if (first_valid_sample == 1U)
    {
      previous_front_state = current_front_state;

      first_valid_sample = 0U;
    }

    /*
     * 최초 측정 이후에는 현재 상태와 이전 상태를 비교한다.
     */
    else if (current_front_state != previous_front_state)
    {
      front_state_changed = 1U;

      /*
       * 다음 거리 상태 비교를 위해
       * 현재 상태를 이전 상태로 저장한다.
       */
      previous_front_state = current_front_state;
    }

    /*
     * 외부 확인용 현재 전방 초음파 상태 저장
     *
     * 주행 상태와 관계없이 항상 최신 상태를 저장한다.
     */
    g_front_ultrasonic_state = current_front_state;

    /*
     * 7. 전진 상태로 새롭게 진입했는지 확인한다.
     *
     * 정지 → 전진
     * 후진 → 전진
     *
     * 두 경우 모두 현재 전방 거리 상태에 해당하는
     * Event를 한 번 송신해야 한다.
     */
    uint8_t entered_forward = 0U;

    if ((current_drive_state == DRIVE_STATE_FORWARD) && (previous_drive_state != DRIVE_STATE_FORWARD))
    {
      entered_forward = 1U;
    }

    /*
     * 8. 전방 초음파 Event 송신 조건
     *
     * 현재 주행 상태가 전진이면서 다음 중 하나를 만족:
     *
     * 1) 정지 또는 후진에서 전진으로 변경됨
     * 2) 전진을 유지하는 동안 전방 거리 단계가 변경됨
     *
     * 후진 또는 정지 상태에서는
     * 전방 초음파 Event를 큐에 등록하지 않는다.
     */
    if ((current_drive_state == DRIVE_STATE_FORWARD) && ((entered_forward == 1U) || (front_state_changed == 1U)))
    {
      /*
       * TaskCAN으로 전달할 CAN 송신 요청
       *
       * 센서 Task에서는:
       * - 수신 노드 ID
       * - Command
       * - Value
       *
       * 만 설정한다.
       *
       * 실제 CAN Header 구성과 Payload 패킹은
       * TaskCAN에서 수행한다.
       */
      CanTxMessage_t front_message;

      /*
       * 전방 초음파 Event의 목적지는
       * Node_2(ID 3)이다.
       */
      front_message.destination_id = CAN_NODE2_ID;

      /*
       * 현재 전방 거리 상태에 따라
       * Command와 Value를 결정한다.
       */
      switch (current_front_state)
      {
        case ULTRASONIC_STATE_10CM:

          /*
           * 전방 10cm 경고
           *
           * Command = 113
           * Value   = 3
           */
          front_message.command = (uint8_t)CAN_CMD_FRONT_ULTRASONIC;
          front_message.value = 3U;
          break;

        case ULTRASONIC_STATE_20CM:

          /*
           * 전방 20cm 경고
           *
           * Command = 113
           * Value   = 2
           */
          front_message.command = (uint8_t)CAN_CMD_FRONT_ULTRASONIC;
          front_message.value = 2U;
          break;

        case ULTRASONIC_STATE_30CM:

          /*
           * 전방 30cm 경고
           *
           * Command = 113
           * Value   = 1
           */
          front_message.command = (uint8_t)CAN_CMD_FRONT_ULTRASONIC;
          front_message.value = 1U;
          break;

        case ULTRASONIC_STATE_CLEAR:
        default:

          /*
           * 전방 경고 해제
           *
           * Command = 113
           * Value   = 0
           */
          front_message.command = (uint8_t)CAN_CMD_FRONT_ULTRASONIC;
          front_message.value = 0U;
          break;
      }

      /*
       * CAN 송신 요청을 QueueCAN에 등록한다.
       *
       * 실제 CAN 송신은 여기에서 수행하지 않는다.
       * TaskCAN이 큐에서 메시지를 꺼내 송신한다.
       *
       * 큐가 잠시 가득 차 있는 경우에도
       * Event가 사라지지 않도록 공간이 생길 때까지 대기한다.
       *
       * 초음파 Event는 거리 상태가 변경될 때만 발생하므로
       * 일반적인 동작에서는 Task가 장시간 대기하지 않는다.
       */
      xQueueSend(QueueCANHandle, &front_message, portMAX_DELAY);
    }

    /*
     * 9. 다음 주기의 주행 상태 비교를 위해
     *    현재 주행 상태를 저장한다.
     *
     * 전진에서 정지 또는 후진으로 변경되는 경우에는
     * 별도의 전방 경고 해제 Event를 송신하지 않는다.
     *
     * Node_2는 Main Node에서 주행 상태를 별도로 받아
     * 현재 사용하지 않는 방향의 Event를 처리한다.
     */
    previous_drive_state = current_drive_state;

    /*
     * 전방 초음파 측정 주기
     */
    osDelay(120);
  }

  /* USER CODE END StartTaskHC1 */
}

void StartTaskHC2(void const * argument)
{
  /* USER CODE BEGIN StartTaskHC2 */

  /*
   * 현재 측정된 후방 초음파 상태
   */
  UltrasonicState_t current_rear_state = ULTRASONIC_STATE_CLEAR;

  /*
   * 이전 측정 주기의 후방 초음파 상태
   *
   * 후진 상태를 유지하는 동안
   * 거리 단계가 실제로 변경되었는지 확인하기 위해 사용한다.
   */
  UltrasonicState_t previous_rear_state = ULTRASONIC_STATE_CLEAR;

  /*
   * TaskHC2가 마지막으로 확인한 주행 상태
   *
   * Main Node에서 받은 주행 상태가
   * 정지 또는 전진에서 후진으로 변경되었는지
   * 확인하기 위해 사용한다.
   *
   * 시스템 초기 상태는 정지로 설정한다.
   */
  DriveState_t previous_drive_state = DRIVE_STATE_STOP;

  /*
   * 최초 유효 거리 측정 여부
   *
   * 시스템 시작 직후 Distance_Back이 0인 상태를
   * 실제 거리 상태로 사용하지 않기 위해 사용한다.
   */
  uint8_t first_valid_sample = 1U;

  /*
   * HC1과 HC2가 동시에 Trig를 발생시키면
   * 서로의 초음파 Echo를 잘못 수신할 수 있다.
   *
   * 따라서 HC2는 HC1보다 60ms 늦게 시작한다.
   */
  osDelay(60);

  for (;;)
  {

    /*
    * 1. 이번 후방 측정 준비
    */
    Rear_Echo_Completed = 0U;

    /*
    * 후방 초음파 Trig 발생
    */
    HAL_GPIO_WritePin(GPIOC, PC1_A4_HCTr2_Pin, GPIO_PIN_RESET);

    delay_us(2U);

    HAL_GPIO_WritePin(GPIOC, PC1_A4_HCTr2_Pin, GPIO_PIN_SET);

    delay_us(10U);

    HAL_GPIO_WritePin(GPIOC, PC1_A4_HCTr2_Pin, GPIO_PIN_RESET);

    /*
    * 2. 이번 후방 Echo 완료 대기
    */
    uint32_t rear_wait_start = HAL_GetTick();

    while ((Rear_Echo_Completed == 0U) && ((HAL_GetTick() - rear_wait_start) < 30U))
    {
      osDelay(1U);
    }

    /*
    * 이번 후방 측정 결과
    */
    uint16_t rear_distance;

    if (Rear_Echo_Completed == 1U)
    {
      rear_distance = Distance_Back;
    }
    else
    {
      /*
      * Echo 없음:
      * 장애물이 측정 범위 밖에 있다고 보고 CLEAR 처리
      */
      rear_distance = 0U;
    }

    /*
     * 3. Main Node에서 수신한 현재 주행 상태를 읽는다.
     *
     * 이 값은 Node_1이 다시 송신하지 않는다.
     * 후방 초음파 Event의 송신 여부를
     * 결정하는 조건값으로만 사용한다.
     */
    DriveState_t current_drive_state = g_drive_state;

    /*
     * 4. 후방 거리값의 유효 범위를 확인한다.
     *
     * 0cm:
     * 아직 측정되지 않았거나 Echo 측정 실패
     *
     * 400cm 초과:
     * HC-SR04의 일반적인 측정 범위를 벗어난 값
     *
     * 유효하지 않은 경우:
     * - 기존 거리 상태 유지
     * - 후방 Event 생성 안 함
     * - 이전 주행 상태도 갱신하지 않음
     *
     * 이전 주행 상태를 갱신하지 않는 이유:
     * 후진 상태로 변경된 순간 거리 측정이 실패하더라도,
     * 다음 유효 거리 측정 시 현재 후방 Event를
     * 한 번 송신하기 위해서다.
     */
    if ((rear_distance < ULTRASONIC_MIN_VALID_CM) || (rear_distance > ULTRASONIC_MAX_VALID_CM))
    {
      current_rear_state = ULTRASONIC_STATE_CLEAR;
    }
    else
    {
    current_rear_state = GetUltrasonicState(rear_distance);
    }

    /*
     * 이번 측정에서 후방 거리 단계가
     * 실제로 변경되었는지 저장한다.
     */
    uint8_t rear_state_changed = 0U;

    /*
     * 6. 최초 유효 거리값 처리
     *
     * 최초 유효 측정값을 현재 상태와
     * 이전 비교 상태로 함께 저장한다.
     */
    if (first_valid_sample == 1U)
    {
      previous_rear_state = current_rear_state;

      first_valid_sample = 0U;
    }

    /*
     * 최초 측정 이후에는 현재 상태와 이전 상태를 비교한다.
     */
    else if (current_rear_state != previous_rear_state)
    {
      rear_state_changed = 1U;

      /*
       * 다음 거리 상태 비교를 위해
       * 현재 상태를 이전 상태로 저장한다.
       */
      previous_rear_state = current_rear_state;
    }

    /*
     * 외부 확인용 현재 후방 초음파 상태 저장
     *
     * 주행 상태와 관계없이 항상 최신 상태를 저장한다.
     */
    g_rear_ultrasonic_state = current_rear_state;

    /*
     * 7. 후진 상태로 새롭게 진입했는지 확인한다.
     *
     * 정지 → 후진
     * 전진 → 후진
     *
     * 두 경우 모두 현재 후방 거리 상태에 해당하는
     * Event를 한 번 송신해야 한다.
     */
    uint8_t entered_backward = 0U;

    if ((current_drive_state == DRIVE_STATE_BACKWARD) && (previous_drive_state != DRIVE_STATE_BACKWARD))
    {
      entered_backward = 1U;
    }

    /*
     * 8. 후방 초음파 Event 송신 조건
     *
     * 현재 주행 상태가 후진이면서 다음 중 하나를 만족:
     *
     * 1) 정지 또는 전진에서 후진으로 변경됨
     * 2) 후진을 유지하는 동안 후방 거리 단계가 변경됨
     *
     * 전진 또는 정지 상태에서는
     * 후방 초음파 Event를 큐에 등록하지 않는다.
     */
    if ((current_drive_state == DRIVE_STATE_BACKWARD) && ((entered_backward == 1U) || (rear_state_changed == 1U)))
    {
      /*
       * TaskCAN으로 전달할 CAN 송신 요청
       *
       * 센서 Task에서는:
       * - 수신 노드 ID
       * - Command
       * - Value
       *
       * 만 설정한다.
       *
       * 실제 CAN Header 구성과 Payload 패킹은
       * TaskCAN에서 수행한다.
       */
      CanTxMessage_t rear_message;

      /*
       * 후방 초음파 Event의 목적지는
       * Node_2(ID 3)이다.
       */
      rear_message.destination_id = CAN_NODE2_ID;

      /*
       * 현재 후방 거리 상태에 따라
       * Command와 Value를 결정한다.
       */
      switch (current_rear_state)
      {
        case ULTRASONIC_STATE_10CM:

          /*
           * 후방 10cm 경고
           *
           * Command = 115
           * Value   = 3
           */
          rear_message.command = (uint8_t)CAN_CMD_REAR_ULTRASONIC;
          rear_message.value = 3U;
          break;

        case ULTRASONIC_STATE_20CM:

          /*
           * 후방 20cm 경고
           *
           * Command = 115
           * Value   = 2
           */
          rear_message.command = (uint8_t)CAN_CMD_REAR_ULTRASONIC;
          rear_message.value = 2U;
          break;

        case ULTRASONIC_STATE_30CM:

          /*
           * 후방 30cm 경고
           *
           * Command = 115
           * Value   = 1
           */
          rear_message.command = (uint8_t)CAN_CMD_REAR_ULTRASONIC;
          rear_message.value = 1U;
          break;

        case ULTRASONIC_STATE_CLEAR:
        default:

          /*
           * 후방 경고 해제
           *
           * Command = 115
           * Value   = 0
           */
          rear_message.command = (uint8_t)CAN_CMD_REAR_ULTRASONIC;
          rear_message.value = 0U;
          break;
      }

      /*
       * CAN 송신 요청을 QueueCAN에 등록한다.
       *
       * 실제 CAN 송신은 이 Task에서 수행하지 않는다.
       * TaskCAN이 큐에서 메시지를 꺼내 송신한다.
       *
       * 큐가 가득 찬 경우에는
       * 공간이 생길 때까지 대기한다.
       */
      xQueueSend(QueueCANHandle, &rear_message, portMAX_DELAY);
    }

    /*
     * 9. 다음 주기의 주행 상태 비교를 위해
     *    현재 주행 상태를 저장한다.
     *
     * 후진에서 정지 또는 전진으로 변경되는 경우에는
     * 별도의 후방 경고 해제 Event를 송신하지 않는다.
     *
     * Node_2는 Main Node에서 현재 주행 상태를
     * 별도로 수신해서 처리한다.
     */
    previous_drive_state = current_drive_state;

    /*
     * 후방 초음파 측정 주기
     */
    osDelay(120);
  }

  /* USER CODE END StartTaskHC2 */
}

void StartTaskLD(void const * argument)
{
  /* USER CODE BEGIN StartTaskLD */

  /*
   * 이전 센서값
   */
  uint16_t prev_fw_raw = 0;

  uint16_t prev_fw_filt = 0;
  uint16_t prev_oh_filt = 0;

  /*
   * 최초 실행 여부
   *
   * 시작 시 filtered 값이 0인 상태에서 delta를 계산하면
   * 실제 변화가 없더라도 큰 변화량이 발생할 수 있으므로 사용한다.
   */
  uint8_t first_sample = 1;

  /*
   * 일시적 그림자 및 밝음 복귀 확인 카운터
   */
  uint8_t shadow_count = 0;
  uint8_t light_off_count = 0;

  /*
   * 현재 판단 상태와 이전 상태
   */
  LightState_t current_light_state = LIGHT_STATE_OFF;
  LightState_t previous_light_state = LIGHT_STATE_OFF;

  /* Infinite loop */
  for (;;)
  {
    /*
     * 1. DMA 버퍼에서 전방 및 상공 조도센서값 읽기
     */
    uint16_t raw_fw = adc_dma_buff[0]; // LS1: 전방 조도센서
    uint16_t raw_oh = adc_dma_buff[1]; // LS2: 상공 조도센서

    /*
     * 2. 최초 센서값 초기화
     *
     * 첫 번째 값은 필터 계산과 변화량 판단에 바로 사용하지 않고
     * 초기 기준값으로 저장한다.
     */
    if (first_sample == 1)
    {
      g_auto_light.forward.raw = raw_fw;
      g_auto_light.overhead.raw = raw_oh;

      g_auto_light.forward.filtered = raw_fw;
      g_auto_light.overhead.filtered = raw_oh;

      g_auto_light.forward.delta = 0;
      g_auto_light.overhead.delta = 0;

      prev_fw_raw = raw_fw;

      prev_fw_filt = raw_fw;
      prev_oh_filt = raw_oh;

      first_sample = 0;

      osDelay(100);
      continue;
    }

    /*
     * 3. raw 변화량 계산
     *
     * 양수: ADC값 감소 → 어두워짐
     * 음수: ADC값 증가 → 밝아짐
     */
    int16_t fw_raw_delta = (int16_t)prev_fw_raw - (int16_t)raw_fw;

    /*
     * 4. 현재 raw 값 저장
     */
    g_auto_light.forward.raw = raw_fw;
    g_auto_light.overhead.raw = raw_oh;

    /*
     * 5. Low-Pass Filter 적용
     *
     * 현재값 20%, 이전 필터값 80%
     */
    g_auto_light.forward.filtered = (uint16_t)((0.2f * (float)raw_fw) + (0.8f * (float)g_auto_light.forward.filtered));

    g_auto_light.overhead.filtered = (uint16_t)((0.2f * (float)raw_oh) + (0.8f * (float)g_auto_light.overhead.filtered));

    /*
     * 6. 필터값 변화량 계산
     *
     * 양수: ADC값 감소 → 어두워짐
     * 음수: ADC값 증가 → 밝아짐
     */
    g_auto_light.forward.delta = (int16_t)prev_fw_filt - (int16_t)g_auto_light.forward.filtered;

    g_auto_light.overhead.delta = (int16_t)prev_oh_filt - (int16_t)g_auto_light.overhead.filtered;

    /*
     * 7. 다음 주기 계산을 위해 현재값 저장
     */
    prev_fw_raw = raw_fw;

    prev_fw_filt = g_auto_light.forward.filtered;
    prev_oh_filt = g_auto_light.overhead.filtered;

    /*
     * 8. 현재 필터값을 밝음/전환/어두움 단계로 변환
     */
    LightLevel_t forward_level = GetLightLevel(g_auto_light.forward.filtered);

    LightLevel_t overhead_level = GetLightLevel(g_auto_light.overhead.filtered);

    /*
     * 9-1. 터널 진입 판단
     *
     * 조건:
     * - 전방 raw 값이 900 이하
     * - 상공 raw 값이 1700 이상
     * - 전방 raw 값이 한 주기 동안 800 이상 급격히 감소
     *
     * 결과:
     * - 빠른 라이트 점등
     * - CAN 명령 112
     */
    if ((raw_fw <= LIGHT_DARK_THRESHOLD) && (raw_oh >= LIGHT_BRIGHT_THRESHOLD) && (fw_raw_delta >= LIGHT_RAW_RAPID_DROP))
    {
      current_light_state = LIGHT_STATE_FAST_ON;

      shadow_count = 0;
      light_off_count = 0;
    }

    /*
     * 9-2. 일몰 또는 야간 진입 판단
     *
     * 조건 1:
     * - 전방과 상공 센서 모두 900 이하
     *
     * 또는 조건 2:
     * - 전방과 상공 필터값이 함께 감소
     *
     * 결과:
     * - 자연스러운 라이트 점등
     * - CAN 명령 112
     */
    else if (((forward_level == LIGHT_LEVEL_DARK) && (overhead_level == LIGHT_LEVEL_DARK)) || ((g_auto_light.forward.delta >= LIGHT_FILTERED_DROP) && (g_auto_light.overhead.delta >= LIGHT_FILTERED_DROP)))
    {
      current_light_state = LIGHT_STATE_SMOOTH_ON;

      shadow_count = 0;
      light_off_count = 0;
    }

    /*
     * 9-3. 일시적 그림자 후보
     *
     * 조건:
     * - 전방은 어두움
     * - 상공은 밝음
     * - 터널 조건처럼 급격한 감소는 아님
     *
     * 짧게 유지되면 기존 상태를 그대로 유지한다.
     */
    else if ((raw_fw <= LIGHT_DARK_THRESHOLD) && (raw_oh >= LIGHT_BRIGHT_THRESHOLD))
    {
      if (shadow_count < SHADOW_CONFIRM_COUNT)
      {
        shadow_count++;
      }

      light_off_count = 0;

      /*
       * 약 300ms 이상 전방 어두움이 지속되면
       * 지속적인 음영 또는 터널 구간으로 판단한다.
       */
      if (shadow_count >= SHADOW_CONFIRM_COUNT)
      {
        current_light_state = LIGHT_STATE_FAST_ON;
        shadow_count = 0;
      }
    }

    /*
     * 9-4. 밝은 환경 복귀 판단
     *
     * 전방과 상공 센서 모두 1700 이상인 상태가
     * 약 500ms 지속되면 라이트를 해제한다.
     */
    else if ((forward_level == LIGHT_LEVEL_BRIGHT) && (overhead_level == LIGHT_LEVEL_BRIGHT))
    {
      shadow_count = 0;

      if (light_off_count < LIGHT_OFF_CONFIRM_COUNT)
      {
        light_off_count++;
      }

      if (light_off_count >= LIGHT_OFF_CONFIRM_COUNT)
      {
        current_light_state = LIGHT_STATE_OFF;
        light_off_count = 0;
      }
    }

    /*
     * 9-5. 전환 구간
     *
     * ADC 901~1699 범위에서는
     * 현재 라이트 상태를 그대로 유지한다.
     */
    else
    {
      shadow_count = 0;
      light_off_count = 0;
    }

    /*
    * 10. 라이트 상태가 바뀌었을 때만
    *     조도 Event를 QueueCAN에 등록한다.
    *
    * TaskLD에서는 실제 CAN 송신을 하지 않는다.
    *
    * 이 Task에서는:
    * - 수신 노드 ID
    * - Command
    * - Value
    *
    * 만 설정한다.
    *
    * CAN Header 구성, Payload 패킹 및 실제 송신은
    * TaskCAN에서만 수행한다.
    */
    if (current_light_state != previous_light_state)
    {
      /*
      * TaskCAN으로 전달할 조도 Event 메시지
      */
      CanTxMessage_t light_message;

      /*
      * Node_1의 조도 Event는
      * Node_2(ID 3)로 전송한다.
      *
      * TaskCAN에서는 이 값을
      * CAN Header의 Standard Identifier로 사용한다.
      */
      light_message.destination_id = CAN_NODE2_ID;

      /*
      * 현재 라이트 상태에 따라
      * Command와 Value를 설정한다.
      */
      switch (current_light_state)
      {
        case LIGHT_STATE_FAST_ON:

          /*
          * 빠른 라이트 점등 Event
          *
          * 터널 진입 등 급격한 조도 변화 시 사용한다.
          *
          * Command = 112
          * Value   = 2
          *
          * 최종 Payload:
          * [70 02 00 00 00 00 00 00]
          */
          light_message.command = (uint8_t)CAN_CMD_LIGHT;

          light_message.value = 2U;
          break;

        case LIGHT_STATE_SMOOTH_ON:

          /*
          * 자연스러운 라이트 점등 Event
          *
          * 일몰 또는 야간 진입 시 사용한다.
          *
          * Command = 112
          * Value   = 1
          *
          * 최종 Payload:
          * [70 01 00 00 00 00 00 00]
          */
          light_message.command = (uint8_t)CAN_CMD_LIGHT;

          light_message.value = 1U;
          break;

        case LIGHT_STATE_OFF:
        default:

          /*
          * 라이트 해제 Event
          *
          * 밝은 환경으로 복귀했을 때 사용한다.
          *
          * Command = 112
          * Value   = 0
          *
          * 최종 Payload:
          * [70 00 00 00 00 00 00 00]
          */
          light_message.command = (uint8_t)CAN_CMD_LIGHT;

          light_message.value = 0U;
          break;
      }

      /*
      * 조도 Event를 CAN 송신 큐에 등록한다.
      *
      * 여기에서는 CAN 송신을 직접 수행하지 않는다.
      * TaskCAN이 큐에서 메시지를 꺼내 송신한다.
      *
      * 큐가 가득 찬 경우에는
      * 공간이 생길 때까지 대기한다.
      */
      xQueueSend(QueueCANHandle, &light_message, portMAX_DELAY);

      /*
      * 외부 확인용 현재 라이트 상태 저장
      *
      * UART 확인 및 디버깅을 위해 유지한다.
      */
      g_light_state = current_light_state;

      /*
      * 다음 상태 비교를 위해 현재 상태 저장
      *
      * 동일한 상태에서는 같은 조도 Event가
      * 반복해서 큐에 들어가지 않는다.
      */
      previous_light_state = current_light_state;
    }

    osDelay(100);
  }

  /* USER CODE END StartTaskLD */
}

void StartTaskCAN(void const * argument)
{
  /* USER CODE BEGIN StartTaskCAN */

  /*
   * 센서 Task에서 전달한 CAN 송신 요청
   */
  CanTxMessage_t tx_message;

  /*
   * CAN 송신 Header
   */
  CAN_TxHeaderTypeDef txHeader = {0, };

  /*
   * 송신 Mailbox 번호
   */
  uint32_t txMailbox = 0U;

  /*
   * 실제 CAN Payload
   *
   * Data[0] = Command
   * Data[1] = Value
   * Data[2~7] = 0
   */
  uint8_t txData[8] =
  {
    0U, 0U, 0U, 0U,
    0U, 0U, 0U, 0U
  };

  /*
   * 공통 CAN Header 설정
   */
  txHeader.ExtId = 0U;
  txHeader.IDE = CAN_ID_STD;
  txHeader.RTR = CAN_RTR_DATA;
  txHeader.DLC = 8U;
  txHeader.TransmitGlobalTime = DISABLE;

  for (;;)
  {
    /*
     * 센서 Event가 들어올 때까지 대기한다.
     */
    if (xQueueReceive(QueueCANHandle, &tx_message, portMAX_DELAY) != pdPASS)
    {
      continue;
    }

    /*
    * Queue에서 메시지를 꺼낸 시점에
    * 현재 주행 방향과 맞지 않는 초음파 메시지는 폐기한다.
    *
    * xQueueReceive가 성공했으므로
    * 해당 메시지는 이미 Queue에서 제거된 상태다.
    */
    if ((tx_message.command == (uint8_t)CAN_CMD_FRONT_ULTRASONIC) && (g_drive_state != DRIVE_STATE_FORWARD))
    {
      continue;
    }

    if ((tx_message.command == (uint8_t)CAN_CMD_REAR_ULTRASONIC) && (g_drive_state != DRIVE_STATE_BACKWARD))
    {
      continue;
    }

    /*
     * Standard ID 유효 범위 확인
     */
    if (tx_message.destination_id > 0x7FFU)
    {
      printf("[CAN TX ERROR] Invalid ID=0x%03X\r\n", (unsigned int)tx_message.destination_id);

      continue;
    }

    /*
     * 목적지 Node ID 설정
     */
    txHeader.StdId = tx_message.destination_id;

    /*
     * 이전 Payload 제거
     */
    txData[0] = 0U;
    txData[1] = 0U;
    txData[2] = 0U;
    txData[3] = 0U;
    txData[4] = 0U;
    txData[5] = 0U;
    txData[6] = 0U;
    txData[7] = 0U;

    /*
     * Command와 Value 패킹
     */
    txData[0] = tx_message.command;
    txData[1] = tx_message.value;

    /*
     * 송신 Mailbox 대기
     */
    while (HAL_CAN_GetTxMailboxesFreeLevel(&hcan) == 0U)
    {
      osDelay(1);
    }

    /*
     * 실제 CAN 송신
     */
    if (HAL_CAN_AddTxMessage(&hcan, &txHeader, txData, &txMailbox) == HAL_OK)
    {
      printf("[CAN TX] "
             "ID=0x%03X CMD=%3u VALUE=%3u | "
             "DATA=[%02X %02X %02X %02X "
             "%02X %02X %02X %02X]\r\n",

             (unsigned int)txHeader.StdId,
             (unsigned int)txData[0],
             (unsigned int)txData[1],

             (unsigned int)txData[0],
             (unsigned int)txData[1],
             (unsigned int)txData[2],
             (unsigned int)txData[3],
             (unsigned int)txData[4],
             (unsigned int)txData[5],
             (unsigned int)txData[6],
             (unsigned int)txData[7]);
    }
    else
    {
      printf("[CAN TX FAIL] "
             "ID=0x%03X CMD=%3u VALUE=%3u\r\n",

             (unsigned int)txHeader.StdId,
             (unsigned int)txData[0],
             (unsigned int)txData[1]);
    }
  }

  /* USER CODE END StartTaskCAN */
}

/* USER CODE BEGIN Application */

/*
 * ADC값을 조도 단계로 변환하는 함수
 */
static LightLevel_t GetLightLevel(uint16_t adc_value)
{
    if (adc_value >= LIGHT_BRIGHT_THRESHOLD)
    {
        return LIGHT_LEVEL_BRIGHT;
    }
    else if (adc_value <= LIGHT_DARK_THRESHOLD)
    {
        return LIGHT_LEVEL_DARK;
    }
    else
    {
        return LIGHT_LEVEL_TRANSITION;
    }
}

/*
 * 초음파 거리값을 경고 단계로 변환하는 함수
 */
static UltrasonicState_t GetUltrasonicState(uint16_t distance_cm)
{
    /*
     * 가까운 구간부터 검사해야 한다.
     *
     * 예:
     * 8cm는 10cm, 20cm, 30cm 조건을 모두 만족하므로
     * 가장 먼저 10cm 구간으로 분류한다.
     */
    if (distance_cm <= ULTRASONIC_WARNING_10CM)
    {
        return ULTRASONIC_STATE_10CM;
    }
    else if (distance_cm <= ULTRASONIC_WARNING_20CM)
    {
        return ULTRASONIC_STATE_20CM;
    }
    else if (distance_cm <= ULTRASONIC_WARNING_30CM)
    {
        return ULTRASONIC_STATE_30CM;
    }
    else
    {
        return ULTRASONIC_STATE_CLEAR;
    }
}

/* USER CODE END Application */
